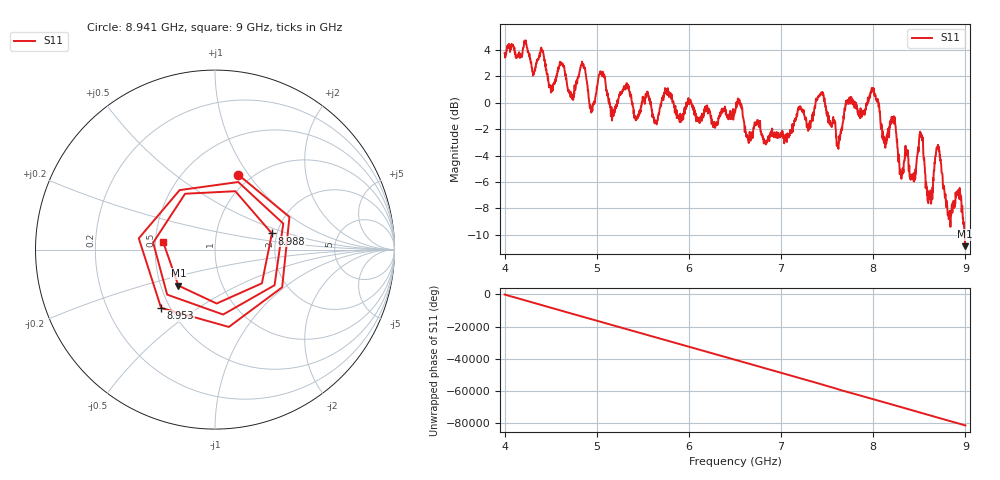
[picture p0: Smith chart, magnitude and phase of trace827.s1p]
! Created with skrf 1.8.0 (http://scikit-rf.org).
# Hz S RI R 50.0
!freq ReS11 ImS11
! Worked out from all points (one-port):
!   1601 points, 4 GHz to 9 GHz, reference 50 ohm
!   lowest |S11| = -10.9 dB at 8.997 GHz (marker M1), VSWR 1.80, Z = 30.8 - j13.4 ohm
!   |S11| at or under -10 dB: 8.991765 GHz to end of sweep
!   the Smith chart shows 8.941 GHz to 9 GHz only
!   S11 on the Smith chart (normalised r, x): 8.941 GHz: 0.87, +0.90; 8.953 GHz: 0.45, -0.36; 8.988 GHz: 1.88, +0.38; 9 GHz: 0.55, +0.05
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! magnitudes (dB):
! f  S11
! 4 GHz  3.8
! 4.403 GHz  3.9
! 4.506 GHz  1.0
! 4.625 GHz  2.9
! 4.731 GHz  0.4
! 4.853 GHz  2.9
! 4.944 GHz  -0.5
! 5.047 GHz  2.2
! 5.169 GHz  -0.8
! 5.25 GHz  0.7
! 5.875 GHz  -0.9
! 6.5 GHz  -0.7
! 7.125 GHz  -2.2
! 7.438 GHz  0.8
! 7.622 GHz  -3.5
! 7.75 GHz  0.4
! 8 GHz  0.9
! 8.375 GHz  -3.6
! 8.438 GHz  -5.5
! 8.519 GHz  -2.4
! 8.616 GHz  -7.2
! 8.7 GHz  -3.3
! 8.822 GHz  -8.7
! 8.941 GHz  -7.2
! 8.953 GHz  -7.1
! 8.988 GHz  -9.6
! 8.997 GHz  -10.9
! 9 GHz  -10.7
